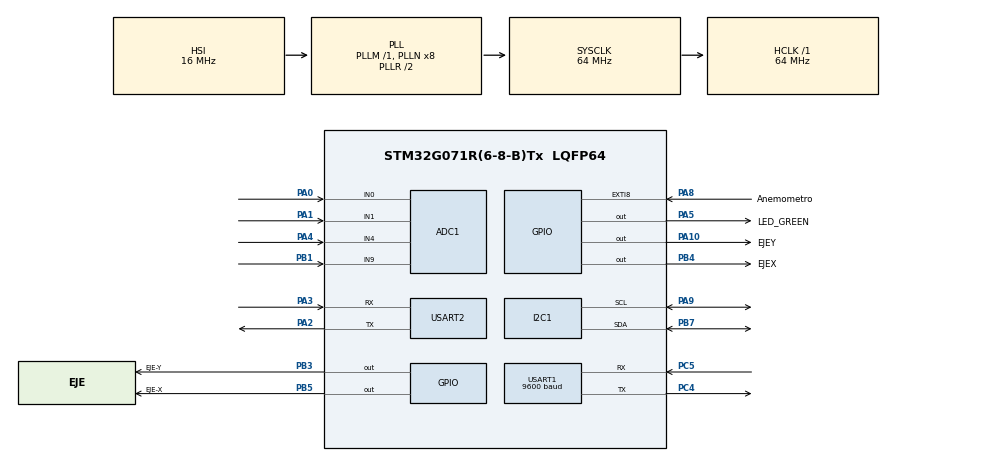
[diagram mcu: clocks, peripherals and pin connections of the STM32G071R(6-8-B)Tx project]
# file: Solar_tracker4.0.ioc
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ADC1.Channel-0\#ChannelRegularConversion=ADC_CHANNEL_0
ADC1.Channel-1\#ChannelRegularConversion=ADC_CHANNEL_1
ADC1.Channel-2\#ChannelRegularConversion=ADC_CHANNEL_4
ADC1.Channel-3\#ChannelRegularConversion=ADC_CHANNEL_9
ADC1.ContinuousConvMode=ENABLE
ADC1.DMAContinuousRequests=ENABLE
ADC1.NbrOfConversion=4
ADC1.NbrOfConversionFlag=1
ADC1.Rank-0\#ChannelRegularConversion=1
ADC1.Rank-1\#ChannelRegularConversion=2
ADC1.Rank-2\#ChannelRegularConversion=3
ADC1.Rank-3\#ChannelRegularConversion=4
ADC1.SamplingTime-0\#ChannelRegularConversion=ADC_SAMPLINGTIME_COMMON_1
ADC1.SamplingTime-1\#ChannelRegularConversion=ADC_SAMPLINGTIME_COMMON_1
ADC1.SamplingTime-2\#ChannelRegularConversion=ADC_SAMPLINGTIME_COMMON_1
ADC1.SamplingTime-3\#ChannelRegularConversion=ADC_SAMPLINGTIME_COMMON_1
ADC1.SamplingTimeCommon1=ADC_SAMPLETIME_160CYCLES_5
ADC1.SelectedChannel=ADC_CHANNEL_0|ADC_CHANNEL_1|ADC_CHANNEL_4|ADC_CHANNEL_9
ADC1.master=1
Dma.ADC1.0.Direction=DMA_PERIPH_TO_MEMORY
Dma.ADC1.0.EventEnable=DISABLE
Dma.ADC1.0.Instance=DMA1_Channel1
Dma.ADC1.0.MemDataAlignment=DMA_MDATAALIGN_WORD
Dma.ADC1.0.MemInc=DMA_MINC_ENABLE
Dma.ADC1.0.Mode=DMA_CIRCULAR
Dma.ADC1.0.PeriphDataAlignment=DMA_PDATAALIGN_WORD
Dma.ADC1.0.PeriphInc=DMA_PINC_DISABLE
Dma.ADC1.0.Polarity=HAL_DMAMUX_REQ_GEN_RISING
Dma.ADC1.0.Priority=DMA_PRIORITY_LOW
Dma.ADC1.0.RequestNumber=1
Dma.ADC1.0.SignalID=NONE
Dma.ADC1.0.SyncEnable=DISABLE
Dma.ADC1.0.SyncPolarity=HAL_DMAMUX_SYNC_NO_EVENT
Dma.ADC1.0.SyncRequestNumber=1
Dma.ADC1.0.SyncSignalID=NONE
Dma.Request0=ADC1
I2C1.Timing=0x10707DBC
Mcu.Family=STM32G0
Mcu.Name=STM32G071R(6-8-B)Tx
Mcu.Package=LQFP64
NVIC.DMA1_Channel1_IRQn=true\:0\:0\:false\:false\:true\:false\:true
NVIC.EXTI4_15_IRQn=true\:0\:0\:false\:false\:true\:true\:true
NVIC.TIM3_IRQn=true\:0\:0\:false\:false\:true\:true\:true
NVIC.USART1_IRQn=true\:0\:0\:false\:false\:true\:true\:true
PA0.Mode=IN0
PA0.Signal=ADC1_IN0
PA1.Mode=IN1
PA1.Signal=ADC1_IN1
PA10.GPIO_Label=EJEY
PA10.Signal=GPIO_Output
PA13.GPIO_Label=TMS
PA13.Mode=Serial_Wire
PA13.Signal=SYS_SWDIO
PA14-BOOT0.GPIO_Label=TCK
PA14-BOOT0.Mode=Serial_Wire
PA14-BOOT0.Signal=SYS_SWCLK
PA2.Mode=Asynchronous
PA2.Signal=USART2_TX
PA3.Mode=Asynchronous
PA3.Signal=USART2_RX
PA4.Mode=IN4
PA4.Signal=ADC1_IN4
PA5.GPIO_Label=LED_GREEN
PA5.GPIO_Speed=GPIO_SPEED_FREQ_HIGH
PA5.Signal=GPIO_Output
PA8.GPIO_Label=Anemometro
PA8.GPIO_ModeDefaultEXTI=GPIO_MODE_IT_RISING
PA8.Signal=GPXTI8
PA9.Mode=I2C
PA9.Signal=I2C1_SCL
PB1.Mode=IN9
PB1.Signal=ADC1_IN9
PB3.GPIO_Label=EJE-Y
PB3.Signal=GPIO_Output
PB4.GPIO_Label=EJEX
PB4.Signal=GPIO_Output
PB5.GPIO_Label=EJE-X
PB5.Signal=GPIO_Output
PB7.Mode=I2C
PB7.Signal=I2C1_SDA
PC13.Mode=SYS_WakeUp1
PC13.Signal=SYS_WKUP2
PC14-OSC32_IN\ (PC14).Mode=LSE-External-Oscillator
PC14-OSC32_IN\ (PC14).Signal=RCC_OSC32_IN
PC15-OSC32_OUT\ (PC15).Mode=LSE-External-Oscillator
PC15-OSC32_OUT\ (PC15).Signal=RCC_OSC32_OUT
PC4.Mode=Asynchronous
PC4.Signal=USART1_TX
PC5.Mode=Asynchronous
PC5.Signal=USART1_RX
PF0-OSC_IN\ (PF0).GPIO_Label=MCO
PF0-OSC_IN\ (PF0).Mode=HSE-External-Clock-Source
PF0-OSC_IN\ (PF0).Signal=RCC_OSC_IN
ProjectManager.HeapSize=0x200
ProjectManager.StackSize=0x400
ProjectManager.TargetToolchain=STM32CubeIDE
RCC.ADCFreq_Value=64000000
RCC.AHBFreq_Value=64000000
RCC.CortexFreq_Value=64000000
RCC.EXTERNAL_CLOCK_VALUE=12288000
RCC.HCLKFreq_Value=64000000
RCC.HSE_VALUE=8000000
RCC.HSI_VALUE=16000000
RCC.SYSCLKFreq_VALUE=64000000
RCC.SYSCLKSource=RCC_SYSCLKSOURCE_PLLCLK
RCC.VCOOutputFreq_Value=128000000
TIM3.Period=10000-1
TIM3.Prescaler=6400-1
USART1.BaudRate=9600
USART1.VirtualMode-Asynchronous=VM_ASYNC
USART2.VirtualMode-Asynchronous=VM_ASYNC
VP_SYS_VS_DBSignals.Mode=DisableDeadBatterySignals
VP_TIM3_VS_ClockSourceINT.Mode=Internal
board=NUCLEO-G071RB

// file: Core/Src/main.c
/* USER CODE BEGIN Header */
/**
  ******************************************************************************
  * @file           : main.c
  * @brief          : Main program body
  ******************************************************************************
  * @attention
  *
  * <h2><center>&copy; Copyright (c) 2022 STMicroelectronics.
  * All rights reserved.</center></h2>
  *
  * This software component is licensed by ST under BSD 3-Clause license,
  * the "License"; You may not use this file except in compliance with the
  * License. You may obtain a copy of the License at:
  *                        opensource.org/licenses/BSD-3-Clause
  *
  ******************************************************************************
  */
/* USER CODE END Header */
#include "main.h"

/* USER CODE BEGIN Includes */
#include "string.h"
#include "stdio.h"
#include "ds1307_for_stm32_hal.h"
/* USER CODE END Includes */

/* USER CODE BEGIN PM */
#define ARRIBA 				0
#define ABAJO  				1
#define IZQUIERDA 			2
#define DERECHA				3
#define STOP				4
#define AUTO				5
#define MANUAL				6
#define VERTICAL			7
#define ABSOLUTO			8
#define STOP_X				9
#define STOP_Y				10
#define True				0
#define False				1
#define Factor				100
#define Tolerancia			5
#define MPU6050_ADDR 		0xD0
#define SMPLRT_DIV_REG 		0x19
#define GYRO_CONFIG_REG 	0x1B
#define ACCEL_CONFIG_REG 	0x1C
#define ACCEL_XOUT_H_REG 	0x3B
#define TEMP_OUT_H_REG 		0x41
#define GYRO_XOUT_H_REG 	0x43
#define PWR_MGMT_1_REG 		0x6B
#define WHO_AM_I_REG 		0x75
#define MENU				"page 0"
#define MENU1				"page 1"
/* USER CODE END PM */

ADC_HandleTypeDef hadc1;
DMA_HandleTypeDef hdma_adc1;

I2C_HandleTypeDef hi2c1;

TIM_HandleTypeDef htim3;

UART_HandleTypeDef huart1;
UART_HandleTypeDef huart2;

/* USER CODE BEGIN PV */
uint32_t ADC_MEDIDAS[4];
uint8_t Rx='\0';
int Move=0,Mode=0;
uint8_t buf[12];
uint8_t buffR;
int16_t val;
int temp_c;
static const uint8_t TMP102_ADDR = 0x48 << 1; // Use 8-bit address
static const uint8_t REG_TEMP = 0x00;
char temp[10]="\0";
int16_t Accel_X_RAW = 0;
int16_t Accel_Y_RAW = 0;
int16_t Accel_Z_RAW = 0;
int16_t Gyro_X_RAW = 0;
int16_t Gyro_Y_RAW = 0;
int16_t Gyro_Z_RAW = 0;
HAL_StatusTypeDef ret;
float Ax=0, Ay=0, Az=0, Gx=0, Gy=0, Gz=0;
uint8_t final[3]={0xFF,0xFF,0xFF};
char buff[200]="\0";
int EJEX=0;
int EJE_X=0;
int EJEY=0;
int EJE_Y=0;
int velocidad=0;
float ph=0,factor=10;
int  bit_parada=0;
typedef struct Date
{
	int Day;
	int Month;
	int Year;
}typedefDate;
typedef struct Time
{
	int Hour;
	int Minutes;
	int Second;
	typedefDate Fecha;

}typedeftime;
typedeftime actual;
/* USER CODE END PV */

void SystemClock_Config(void);
static void MX_GPIO_Init(void);
static void MX_USART2_UART_Init(void);
static void MX_DMA_Init(void);
static void MX_ADC1_Init(void);
static void MX_I2C1_Init(void);
static void MX_USART1_UART_Init(void);
static void MX_TIM3_Init(void);
/* USER CODE BEGIN PFP */
void Movimiento(int move);
void clean();
void MPU6050_Init (void);
void MPU6050_Read_Accel (void);
void MPU6050_Read_Gyro (void);
void temperatura();
void transmit(char *ID);
void Recive(char *string);
void Movimiento(int move);
void Medida();
/* USER CODE END PFP */

/* USER CODE BEGIN 0 */
void HAL_GPIO_EXTI_Rising_Callback(uint16_t GPIO_Pin)
{
	velocidad=velocidad+1;

}

void clean()
{

	for (int var = 0; var < 200; ++var)
	{
		buff[var]='\0';
	}

}
void MPU6050_Init (void)
{
	uint8_t check='\0';
	uint8_t Data='\0';

	// check device ID WHO_AM_I

	HAL_I2C_Mem_Read (&hi2c1, MPU6050_ADDR,WHO_AM_I_REG,1, &check, 1, 1000);

	if (check == 104)  // 0x68 will be returned by the sensor if everything goes well
	{
		// power management register 0X6B we should write all 0's to wake the sensor up
		Data = 0;
		HAL_I2C_Mem_Write(&hi2c1, MPU6050_ADDR, PWR_MGMT_1_REG, 1,&Data, 1, 1000);

		// Set DATA RATE of 1KHz by writing SMPLRT_DIV register
		Data = 0x07;
		HAL_I2C_Mem_Write(&hi2c1, MPU6050_ADDR, SMPLRT_DIV_REG, 1, &Data, 1, 1000);

		// Set accelerometer configuration in ACCEL_CONFIG Register
		// XA_ST=0,YA_ST=0,ZA_ST=0, FS_SEL=0 -> ± 2g
		Data = 0x00;
		HAL_I2C_Mem_Write(&hi2c1, MPU6050_ADDR, ACCEL_CONFIG_REG, 1, &Data, 1, 1000);

		// Set Gyroscopic configuration in GYRO_CONFIG Register
		// XG_ST=0,YG_ST=0,ZG_ST=0, FS_SEL=0 -> ± 250 °/s
		Data = 0x00;
		HAL_I2C_Mem_Write(&hi2c1, MPU6050_ADDR, GYRO_CONFIG_REG, 1, &Data, 1, 1000);
	}

}

void MPU6050_Read_Accel (void)
{
	uint8_t Rec_Data[6]="\0";

	// Read 6 BYTES of data starting from ACCEL_XOUT_H register

	HAL_I2C_Mem_Read (&hi2c1, MPU6050_ADDR, ACCEL_XOUT_H_REG, 1, Rec_Data, 6, 1000);

	Accel_X_RAW = (int16_t)(Rec_Data[0] << 8 | Rec_Data [1]);
	Accel_Y_RAW = (int16_t)(Rec_Data[2] << 8 | Rec_Data [3]);
	Accel_Z_RAW = (int16_t)(Rec_Data[4] << 8 | Rec_Data [5]);

	/*** convert the RAW values into acceleration in 'g'
	     we have to divide according to the Full scale value set in FS_SEL
	     I have configured FS_SEL = 0. So I am dividing by 16384.0
	     for more details check ACCEL_CONFIG Register              ****/

	Ax = Accel_X_RAW/16384.0;
	Ay = Accel_Y_RAW/16384.0;
	Az = Accel_Z_RAW/16384.0;
}

void MPU6050_Read_Gyro (void)
{
	uint8_t Rec_Data[6]="\0";

	// Read 6 BYTES of data starting from GYRO_XOUT_H register

	HAL_I2C_Mem_Read (&hi2c1, MPU6050_ADDR, GYRO_XOUT_H_REG, 1, Rec_Data, 6, 1000);

	Gyro_X_RAW = (int16_t)(Rec_Data[0] << 8 | Rec_Data [1]);
	Gyro_Y_RAW = (int16_t)(Rec_Data[2] << 8 | Rec_Data [3]);
	Gyro_Z_RAW = (int16_t)(Rec_Data[4] << 8 | Rec_Data [5]);

	/*** convert the RAW values into dps (°/s)
	     we have to divide according to the Full scale value set in FS_SEL
	     I have configured FS_SEL = 0. So I am dividing by 131.0
	     for more details check GYRO_CONFIG Register              ****/

	Gx = Gyro_X_RAW/131.0;
	Gy = Gyro_Y_RAW/131.0;
	Gz = Gyro_Z_RAW/131.0;
}

void temperatura(){
buf[0] = REG_TEMP;
ret = HAL_I2C_Master_Transmit(&hi2c1, TMP102_ADDR, buf, 1, HAL_MAX_DELAY);
ret = HAL_I2C_Master_Receive(&hi2c1, TMP102_ADDR, buf, 2, HAL_MAX_DELAY);
val = ((int16_t)buf[0] << 4) | (buf[1] >> 4);

if ( val > 0x7FF ) {  val |= 0xF000; }

// Convertir a (Celsius)
temp_c = val * 0.0625;
sprintf(temp,"%i",temp_c);
}
void transmit(char *ID)
{
	char mensaje1[50]="\0";
	if(strstr(ID,"Temp"))
		{
		sprintf(mensaje1,"Temp.txt=\"%s\"",temp);
		}
	if(strstr(ID,"GX"))
		{
	      sprintf(mensaje1,"GX.txt=\"%.4f\"",Gx);
		}
	if(strstr(ID,"GY"))
		{
		sprintf(mensaje1,"GY.txt=\"%.4f\"",Gy);
		}
	if(strstr(ID,"Anemo"))
		{

   	sprintf(mensaje1,"Anemo.txt=\"%i\"",velocidad*2);

		}
	if(strstr(ID,"Hora"))
	{

		sprintf(mensaje1,"Time.txt=\"%i:%i:%i\"",actual.Hour,actual.Minutes,actual.Second);
	}
	if(strstr(ID,MENU))
	{
		sprintf(mensaje1,"%s",MENU);
	}

	strcat(mensaje1,(char*)final);
	HAL_UART_Transmit(&huart1, (uint8_t*)mensaje1,strlen(mensaje1),HAL_MAX_DELAY);
}
void Recive(char *string)
{
	if(strstr(string,"ARRIBA"))
	{
		Move=ARRIBA;
	}
	if(strstr(string,"ABAJO"))
	{
		Move=ABAJO;
	}
	if(strstr(string,"IZQUIERDA"))
	{
		Move=IZQUIERDA;
	}
	if(strstr(string,"DERECHA"))
	{
		Move=DERECHA;
	}
	if(strstr(string,"STOP"))
	{
		Move=STOP;
	}
	if(strstr(string,"STOP1"))
	{
		if(!bit_parada)
		{
			Move=STOP;
			Mode=MANUAL;
		}
		else
		{
			Move=ABSOLUTO;
			Mode=AUTO;

		}
		bit_parada=!bit_parada;
	}
	if(strstr(string,"AUTO"))
	{
	    Mode=AUTO;
	}
	if(strstr(string,"MANUAL"))
	{
		Mode=MANUAL;
	}
	if(strstr(string,"VERTICAL"))
	{
		Move=VERTICAL;
	}
	if(strstr(string,"ABSOLUTO"))
	{
		Move=ABSOLUTO;

	}
}
void Movimiento(int move)
{
	if(move==ABAJO)//GIRAR HACIA LA ARRIBA
	{
		HAL_GPIO_WritePin(EJEY_GPIO_Port,EJEY_Pin,True);
		HAL_GPIO_WritePin(EJE_Y_GPIO_Port,EJE_Y_Pin,False);
	}
	if(move==ARRIBA)//GIRAR HACIA LA ABAJO
	{
		HAL_GPIO_WritePin(EJEY_GPIO_Port,EJEY_Pin,False);
		HAL_GPIO_WritePin(EJE_Y_GPIO_Port,EJE_Y_Pin,True);
	}
	if(move==DERECHA)//GIRAR HACIA LA DERECHA
	{
		HAL_GPIO_WritePin(EJEX_GPIO_Port,EJEX_Pin,True);
		HAL_GPIO_WritePin(EJE_X_GPIO_Port,EJE_X_Pin,False);
	}
	if(move==IZQUIERDA)//GIRAR HACIA LA IZQUIERDA
	{
		HAL_GPIO_WritePin(EJEX_GPIO_Port,EJEX_Pin,False);
		HAL_GPIO_WritePin(EJE_X_GPIO_Port,EJE_X_Pin,True);
	}
	if(move==STOP)//PARAR EQUIPO
	{
		HAL_GPIO_WritePin(EJEY_GPIO_Port,EJEY_Pin,False);
		HAL_GPIO_WritePin(EJE_Y_GPIO_Port,EJE_Y_Pin,False);
		HAL_GPIO_WritePin(EJEX_GPIO_Port,EJEX_Pin,False);
		HAL_GPIO_WritePin(EJE_X_GPIO_Port,EJE_X_Pin,False);
	}
	if(move==STOP_X)
	{
		HAL_GPIO_WritePin(EJEX_GPIO_Port,EJEX_Pin,False);
		HAL_GPIO_WritePin(EJE_X_GPIO_Port,EJE_X_Pin,False);
	}
	if(move==STOP_Y)
	{
		HAL_GPIO_WritePin(EJEY_GPIO_Port,EJEY_Pin,False);
		HAL_GPIO_WritePin(EJE_Y_GPIO_Port,EJE_Y_Pin,False);
	}
}
void Medida()
{
	 EJEX=((3.3*ADC_MEDIDAS[0])*Factor)/4095;//ejex ldr3
	 EJE_Y=((3.3*ADC_MEDIDAS[1])*Factor)/4095;//eje_y ldr4
	 EJEY=((3.3*ADC_MEDIDAS[2])*Factor)/4095;//ejey ldr2
	 EJE_X=((3.3*ADC_MEDIDAS[3])*Factor)/4095;//eje_x ldr1
	if(EJEY-Tolerancia>EJE_Y)
	{
		Movimiento(IZQUIERDA);
	}
	else if(EJEY+Tolerancia<EJE_Y)
	{
		Movimiento(DERECHA);
	}
	else
	{
		Movimiento(STOP_Y);
	}
	if(EJEX-Tolerancia>EJE_X)
	{
		Movimiento(ARRIBA);
	}
	else if(EJEX+Tolerancia<EJE_X)
	{
		Movimiento(ABAJO);
	}
	else
	{
		Movimiento(STOP_X);
	}

}
void Hora_ACTUAL(typedeftime *time)
{
	time->Hour=DS1307_GetHour();
	time->Minutes=DS1307_GetMinute();
	time->Second=DS1307_GetSecond();
	time->Fecha.Day=DS1307_GetDate();
	time->Fecha.Month=DS1307_GetMonth();
	time->Fecha.Year=DS1307_GetYear();
}

/* USER CODE END 0 */

int main(void)
{

  /* MCU Configuration--------------------------------------------------------*/

  /* Reset of all peripherals, Initializes the Flash interface and the Systick. */
  HAL_Init();

  /* Configure the system clock */
  SystemClock_Config();

  /* Initialize all configured peripherals */
  MX_GPIO_Init();
  MX_USART2_UART_Init();
  MX_DMA_Init();
  MX_ADC1_Init();
  MX_I2C1_Init();
  MX_USART1_UART_Init();
  MX_TIM3_Init();
  /* USER CODE BEGIN 2 */
  	HAL_ADC_Start_DMA(&hadc1,ADC_MEDIDAS,4);
	HAL_UART_Receive_IT(&huart1,&Rx ,1);
	HAL_TIM_Base_Start_IT(&htim3);
	transmit(MENU);
	Move=ABSOLUTO;
	Mode=MANUAL;
	DS1307_Init(&hi2c1);
  /* USER CODE END 2 */

  /* Infinite loop */
  /* USER CODE BEGIN WHILE */
  while (1)
  {

	  	  temperatura();
	  	  MPU6050_Read_Accel();
	  	  MPU6050_Read_Gyro();

	  transmit("Anemo");
	  Hora_ACTUAL(&actual);
	  transmit("Hora");
	  	  if(Move==ABSOLUTO)
	  	  {
	  			Movimiento(DERECHA);
	  			Movimiento(ARRIBA);
	  			HAL_Delay(20000);
	  			Movimiento(STOP);
	  			Move=STOP;
	  	  }
	  	  if(Move==VERTICAL)
	  	  {
	  			Movimiento(DERECHA);
	  			Movimiento(ARRIBA);
	  			HAL_Delay(20000);
	  			Movimiento(STOP);
	  			HAL_Delay(100);
	  			Movimiento(IZQUIERDA);
	  			Movimiento(ABAJO);
	  			HAL_Delay(6000);
	  			Movimiento(STOP);
	  			HAL_Delay(100);
	  			Movimiento(IZQUIERDA);
	  			HAL_Delay(6000);
	  			Movimiento(STOP);
	  			Movimiento(ABAJO);
	  			HAL_Delay(2000);
	  			Move=STOP;
	  	  }
	  	  if(Mode==MANUAL)
	  	  {
	  		Movimiento(Move);
	  	  }

	  	  if(Mode==AUTO)
	  	  {
	  		Medida();
	  	  }

    /* USER CODE END WHILE */

  }
}

void SystemClock_Config(void)
{
  RCC_OscInitTypeDef RCC_OscInitStruct = {0};
  RCC_ClkInitTypeDef RCC_ClkInitStruct = {0};
  RCC_PeriphCLKInitTypeDef PeriphClkInit = {0};

  /** Configure the main internal regulator output voltage
  */
  HAL_PWREx_ControlVoltageScaling(PWR_REGULATOR_VOLTAGE_SCALE1);
  /** Initializes the RCC Oscillators according to the specified parameters
  * in the RCC_OscInitTypeDef structure.
  */
  RCC_OscInitStruct.OscillatorType = RCC_OSCILLATORTYPE_HSI;
  RCC_OscInitStruct.HSIState = RCC_HSI_ON;
  RCC_OscInitStruct.HSIDiv = RCC_HSI_DIV1;
  RCC_OscInitStruct.HSICalibrationValue = RCC_HSICALIBRATION_DEFAULT;
  RCC_OscInitStruct.PLL.PLLState = RCC_PLL_ON;
  RCC_OscInitStruct.PLL.PLLSource = RCC_PLLSOURCE_HSI;
  RCC_OscInitStruct.PLL.PLLM = RCC_PLLM_DIV1;
  RCC_OscInitStruct.PLL.PLLN = 8;
  RCC_OscInitStruct.PLL.PLLP = RCC_PLLP_DIV2;
  RCC_OscInitStruct.PLL.PLLQ = RCC_PLLQ_DIV2;
  RCC_OscInitStruct.PLL.PLLR = RCC_PLLR_DIV2;
  if (HAL_RCC_OscConfig(&RCC_OscInitStruct) != HAL_OK)
  {
    Error_Handler();
  }
  /** Initializes the CPU, AHB and APB buses clocks
  */
  RCC_ClkInitStruct.ClockType = RCC_CLOCKTYPE_HCLK|RCC_CLOCKTYPE_SYSCLK
                              |RCC_CLOCKTYPE_PCLK1;
  RCC_ClkInitStruct.SYSCLKSource = RCC_SYSCLKSOURCE_PLLCLK;
  RCC_ClkInitStruct.AHBCLKDivider = RCC_SYSCLK_DIV1;
  RCC_ClkInitStruct.APB1CLKDivider = RCC_HCLK_DIV1;

  if (HAL_RCC_ClockConfig(&RCC_ClkInitStruct, FLASH_LATENCY_2) != HAL_OK)
  {
    Error_Handler();
  }
  /** Initializes the peripherals clocks
  */
  PeriphClkInit.PeriphClockSelection = RCC_PERIPHCLK_USART1|RCC_PERIPHCLK_USART2
                              |RCC_PERIPHCLK_I2C1|RCC_PERIPHCLK_ADC;
  PeriphClkInit.Usart1ClockSelection = RCC_USART1CLKSOURCE_PCLK1;
  PeriphClkInit.Usart2ClockSelection = RCC_USART2CLKSOURCE_PCLK1;
  PeriphClkInit.I2c1ClockSelection = RCC_I2C1CLKSOURCE_PCLK1;
  PeriphClkInit.AdcClockSelection = RCC_ADCCLKSOURCE_SYSCLK;
  if (HAL_RCCEx_PeriphCLKConfig(&PeriphClkInit) != HAL_OK)
  {
    Error_Handler();
  }
}

static void MX_ADC1_Init(void)
{

  ADC_ChannelConfTypeDef sConfig = {0};

  /** Configure the global features of the ADC (Clock, Resolution, Data Alignment and number of conversion)
  */
  hadc1.Instance = ADC1;
  hadc1.Init.ClockPrescaler = ADC_CLOCK_SYNC_PCLK_DIV2;
  hadc1.Init.Resolution = ADC_RESOLUTION_12B;
  hadc1.Init.DataAlign = ADC_DATAALIGN_RIGHT;
  hadc1.Init.ScanConvMode = ADC_SCAN_ENABLE;
  hadc1.Init.EOCSelection = ADC_EOC_SINGLE_CONV;
  hadc1.Init.LowPowerAutoWait = DISABLE;
  hadc1.Init.LowPowerAutoPowerOff = DISABLE;
  hadc1.Init.ContinuousConvMode = ENABLE;
  hadc1.Init.NbrOfConversion = 4;
  hadc1.Init.DiscontinuousConvMode = DISABLE;
  hadc1.Init.ExternalTrigConv = ADC_SOFTWARE_START;
  hadc1.Init.ExternalTrigConvEdge = ADC_EXTERNALTRIGCONVEDGE_NONE;
  hadc1.Init.DMAContinuousRequests = ENABLE;
  hadc1.Init.Overrun = ADC_OVR_DATA_PRESERVED;
  hadc1.Init.SamplingTimeCommon1 = ADC_SAMPLETIME_160CYCLES_5;
  hadc1.Init.SamplingTimeCommon2 = ADC_SAMPLETIME_1CYCLE_5;
  hadc1.Init.OversamplingMode = DISABLE;
  hadc1.Init.TriggerFrequencyMode = ADC_TRIGGER_FREQ_HIGH;
  if (HAL_ADC_Init(&hadc1) != HAL_OK)
  {
    Error_Handler();
  }
  /** Configure Regular Channel
  */
  sConfig.Channel = ADC_CHANNEL_0;
  sConfig.Rank = ADC_REGULAR_RANK_1;
  sConfig.SamplingTime = ADC_SAMPLINGTIME_COMMON_1;
  if (HAL_ADC_ConfigChannel(&hadc1, &sConfig) != HAL_OK)
  {
    Error_Handler();
  }
  /** Configure Regular Channel
  */
  sConfig.Channel = ADC_CHANNEL_1;
  sConfig.Rank = ADC_REGULAR_RANK_2;
  if (HAL_ADC_ConfigChannel(&hadc1, &sConfig) != HAL_OK)
  {
    Error_Handler();
  }
  /** Configure Regular Channel
  */
  sConfig.Channel = ADC_CHANNEL_4;
  sConfig.Rank = ADC_REGULAR_RANK_3;
  if (HAL_ADC_ConfigChannel(&hadc1, &sConfig) != HAL_OK)
  {
    Error_Handler();
  }
  /** Configure Regular Channel
  */
  sConfig.Channel = ADC_CHANNEL_9;
  sConfig.Rank = ADC_REGULAR_RANK_4;
  if (HAL_ADC_ConfigChannel(&hadc1, &sConfig) != HAL_OK)
  {
    Error_Handler();
  }

}

static void MX_I2C1_Init(void)
{

  hi2c1.Instance = I2C1;
  hi2c1.Init.Timing = 0x10707DBC;
  hi2c1.Init.OwnAddress1 = 0;
  hi2c1.Init.AddressingMode = I2C_ADDRESSINGMODE_7BIT;
  hi2c1.Init.DualAddressMode = I2C_DUALADDRESS_DISABLE;
  hi2c1.Init.OwnAddress2 = 0;
  hi2c1.Init.OwnAddress2Masks = I2C_OA2_NOMASK;
  hi2c1.Init.GeneralCallMode = I2C_GENERALCALL_DISABLE;
  hi2c1.Init.NoStretchMode = I2C_NOSTRETCH_DISABLE;
  if (HAL_I2C_Init(&hi2c1) != HAL_OK)
  {
    Error_Handler();
  }
  /** Configure Analogue filter
  */
  if (HAL_I2CEx_ConfigAnalogFilter(&hi2c1, I2C_ANALOGFILTER_ENABLE) != HAL_OK)
  {
    Error_Handler();
  }
  /** Configure Digital filter
  */
  if (HAL_I2CEx_ConfigDigitalFilter(&hi2c1, 0) != HAL_OK)
  {
    Error_Handler();
  }

}

static void MX_TIM3_Init(void)
{

  TIM_ClockConfigTypeDef sClockSourceConfig = {0};
  TIM_MasterConfigTypeDef sMasterConfig = {0};

  htim3.Instance = TIM3;
  htim3.Init.Prescaler = 6400-1;
  htim3.Init.CounterMode = TIM_COUNTERMODE_UP;
  htim3.Init.Period = 10000-1;
  htim3.Init.ClockDivision = TIM_CLOCKDIVISION_DIV1;
  htim3.Init.AutoReloadPreload = TIM_AUTORELOAD_PRELOAD_DISABLE;
  if (HAL_TIM_Base_Init(&htim3) != HAL_OK)
  {
    Error_Handler();
  }
  sClockSourceConfig.ClockSource = TIM_CLOCKSOURCE_INTERNAL;
  if (HAL_TIM_ConfigClockSource(&htim3, &sClockSourceConfig) != HAL_OK)
  {
    Error_Handler();
  }
  sMasterConfig.MasterOutputTrigger = TIM_TRGO_RESET;
  sMasterConfig.MasterSlaveMode = TIM_MASTERSLAVEMODE_DISABLE;
  if (HAL_TIMEx_MasterConfigSynchronization(&htim3, &sMasterConfig) != HAL_OK)
  {
    Error_Handler();
  }

}

static void MX_USART1_UART_Init(void)
{

  huart1.Instance = USART1;
  huart1.Init.BaudRate = 9600;
  huart1.Init.WordLength = UART_WORDLENGTH_8B;
  huart1.Init.StopBits = UART_STOPBITS_1;
  huart1.Init.Parity = UART_PARITY_NONE;
  huart1.Init.Mode = UART_MODE_TX_RX;
  huart1.Init.HwFlowCtl = UART_HWCONTROL_NONE;
  huart1.Init.OverSampling = UART_OVERSAMPLING_16;
  huart1.Init.OneBitSampling = UART_ONE_BIT_SAMPLE_DISABLE;
  huart1.Init.ClockPrescaler = UART_PRESCALER_DIV1;
  huart1.AdvancedInit.AdvFeatureInit = UART_ADVFEATURE_NO_INIT;
  if (HAL_UART_Init(&huart1) != HAL_OK)
  {
    Error_Handler();
  }
  if (HAL_UARTEx_SetTxFifoThreshold(&huart1, UART_TXFIFO_THRESHOLD_1_8) != HAL_OK)
  {
    Error_Handler();
  }
  if (HAL_UARTEx_SetRxFifoThreshold(&huart1, UART_RXFIFO_THRESHOLD_1_8) != HAL_OK)
  {
    Error_Handler();
  }
  if (HAL_UARTEx_DisableFifoMode(&huart1) != HAL_OK)
  {
    Error_Handler();
  }

}

static void MX_USART2_UART_Init(void)
{

  huart2.Instance = USART2;
  huart2.Init.BaudRate = 115200;
  huart2.Init.WordLength = UART_WORDLENGTH_8B;
  huart2.Init.StopBits = UART_STOPBITS_1;
  huart2.Init.Parity = UART_PARITY_NONE;
  huart2.Init.Mode = UART_MODE_TX_RX;
  huart2.Init.HwFlowCtl = UART_HWCONTROL_NONE;
  huart2.Init.OverSampling = UART_OVERSAMPLING_16;
  huart2.Init.OneBitSampling = UART_ONE_BIT_SAMPLE_DISABLE;
  huart2.Init.ClockPrescaler = UART_PRESCALER_DIV1;
  huart2.AdvancedInit.AdvFeatureInit = UART_ADVFEATURE_NO_INIT;
  if (HAL_UART_Init(&huart2) != HAL_OK)
  {
    Error_Handler();
  }
  if (HAL_UARTEx_SetTxFifoThreshold(&huart2, UART_TXFIFO_THRESHOLD_1_8) != HAL_OK)
  {
    Error_Handler();
  }
  if (HAL_UARTEx_SetRxFifoThreshold(&huart2, UART_RXFIFO_THRESHOLD_1_8) != HAL_OK)
  {
    Error_Handler();
  }
  if (HAL_UARTEx_DisableFifoMode(&huart2) != HAL_OK)
  {
    Error_Handler();
  }

}

static void MX_DMA_Init(void)
{

  /* DMA controller clock enable */
  __HAL_RCC_DMA1_CLK_ENABLE();

  /* DMA interrupt init */
  /* DMA1_Channel1_IRQn interrupt configuration */
  HAL_NVIC_SetPriority(DMA1_Channel1_IRQn, 0, 0);
  HAL_NVIC_EnableIRQ(DMA1_Channel1_IRQn);

}

static void MX_GPIO_Init(void)
{
  GPIO_InitTypeDef GPIO_InitStruct = {0};

  /* GPIO Ports Clock Enable */
  __HAL_RCC_GPIOC_CLK_ENABLE();
  __HAL_RCC_GPIOF_CLK_ENABLE();
  __HAL_RCC_GPIOA_CLK_ENABLE();
  __HAL_RCC_GPIOB_CLK_ENABLE();

  /*Configure GPIO pin Output Level */
  HAL_GPIO_WritePin(GPIOA, LED_GREEN_Pin|EJEY_Pin, GPIO_PIN_RESET);

  /*Configure GPIO pin Output Level */
  HAL_GPIO_WritePin(GPIOB, EJE_Y_Pin|EJEX_Pin|EJE_X_Pin, GPIO_PIN_RESET);

  /*Configure GPIO pin : LED_GREEN_Pin */
  GPIO_InitStruct.Pin = LED_GREEN_Pin;
  GPIO_InitStruct.Mode = GPIO_MODE_OUTPUT_PP;
  GPIO_InitStruct.Pull = GPIO_NOPULL;
  GPIO_InitStruct.Speed = GPIO_SPEED_FREQ_HIGH;
  HAL_GPIO_Init(LED_GREEN_GPIO_Port, &GPIO_InitStruct);

  /*Configure GPIO pin : Anemometro_Pin */
  GPIO_InitStruct.Pin = Anemometro_Pin;
  GPIO_InitStruct.Mode = GPIO_MODE_IT_RISING;
  GPIO_InitStruct.Pull = GPIO_NOPULL;
  HAL_GPIO_Init(Anemometro_GPIO_Port, &GPIO_InitStruct);

  /*Configure GPIO pin : EJEY_Pin */
  GPIO_InitStruct.Pin = EJEY_Pin;
  GPIO_InitStruct.Mode = GPIO_MODE_OUTPUT_PP;
  GPIO_InitStruct.Pull = GPIO_NOPULL;
  GPIO_InitStruct.Speed = GPIO_SPEED_FREQ_LOW;
  HAL_GPIO_Init(EJEY_GPIO_Port, &GPIO_InitStruct);

  /*Configure GPIO pins : EJE_Y_Pin EJEX_Pin EJE_X_Pin */
  GPIO_InitStruct.Pin = EJE_Y_Pin|EJEX_Pin|EJE_X_Pin;
  GPIO_InitStruct.Mode = GPIO_MODE_OUTPUT_PP;
  GPIO_InitStruct.Pull = GPIO_NOPULL;
  GPIO_InitStruct.Speed = GPIO_SPEED_FREQ_LOW;
  HAL_GPIO_Init(GPIOB, &GPIO_InitStruct);

  /* EXTI interrupt init*/
  HAL_NVIC_SetPriority(EXTI4_15_IRQn, 0, 0);
  HAL_NVIC_EnableIRQ(EXTI4_15_IRQn);

}

/* USER CODE BEGIN 4 */
void HAL_TIM_PeriodElapsedCallback(TIM_HandleTypeDef *htim)
{
	if(velocidad>0)
	{
		velocidad--;
	}

}
void HAL_UART_RxCpltCallback(UART_HandleTypeDef *huart)
{
	static int i=0;

	if(i<200&&Rx!='X')
	{
		buff[i++]=Rx;
	}
	else
	{
		i=0;
	}
	if(Rx=='X')
	{
		Recive(buff);
		clean();
		i=0;
	}

	 HAL_UART_Receive_IT(&huart1,&Rx,1);
}
/* USER CODE END 4 */

void Error_Handler(void)
{
  __disable_irq();
  while (1)
  {
  }
}

/************************ (C) COPYRIGHT STMicroelectronics *****END OF FILE****/
